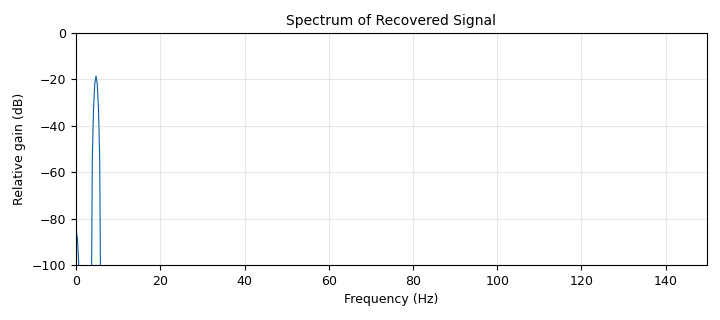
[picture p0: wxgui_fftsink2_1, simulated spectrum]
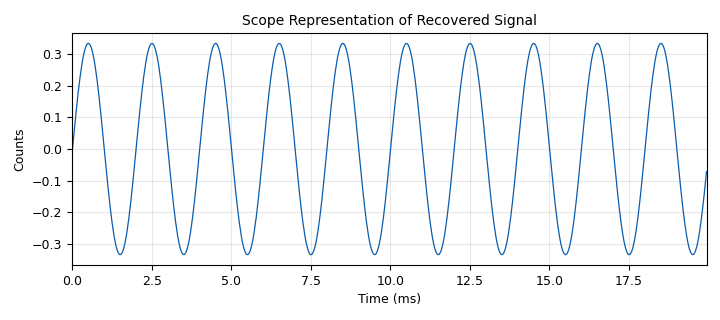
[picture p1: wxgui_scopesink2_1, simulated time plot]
<?xml version='1.0' encoding='utf-8'?>
<?grc format='1' created='3.7.11'?>
<flow_graph>
<block>
<key>options</key>
<param><key>id</key><value>fm_mod_dmod_sim</value></param>
<param><key>author</key><value>AKADEMIKA Lab Solution</value></param>
<param><key>category</key><value>Custom</value></param>
<param><key>description</key><value>NBFM Modulation Technique</value></param>
<param><key>generate_options</key><value>wx_gui</value></param>
<param><key>title</key><value>FM_Modulation and Demodulation</value></param>
</block>
<block>
<key>variable_slider</key>
<param><key>id</key><value>amplitude</value></param>
<param><key>converver</key><value>float_converter</value></param>
<param><key>value</key><value>1</value></param>
<param><key>label</key><value></value></param>
<param><key>max</key><value>10</value></param>
<param><key>min</key><value>0</value></param>
<param><key>num_steps</key><value>100</value></param>
<param><key>style</key><value>wx.SL_HORIZONTAL</value></param>
</block>
<block>
<key>variable</key>
<param><key>id</key><value>interp_factor</value></param>
<param><key>value</key><value>4</value></param>
</block>
<block>
<key>variable</key>
<param><key>id</key><value>samp_rate</value></param>
<param><key>value</key><value>32000</value></param>
</block>
<block>
<key>variable</key>
<param><key>id</key><value>samp_rate1</value></param>
<param><key>value</key><value>300</value></param>
</block>
<block>
<key>analog_nbfm_rx</key>
<param><key>id</key><value>analog_nbfm_rx_0</value></param>
<param><key>audio_rate</key><value>samp_rate</value></param>
<param><key>max_dev</key><value>5e3</value></param>
<param><key>quad_rate</key><value>samp_rate</value></param>
<param><key>tau</key><value>75e-6</value></param>
</block>
<block>
<key>analog_nbfm_tx</key>
<param><key>id</key><value>analog_nbfm_tx_0</value></param>
<param><key>audio_rate</key><value>samp_rate</value></param>
<param><key>max_dev</key><value>5e3</value></param>
<param><key>fh</key><value>-1.0</value></param>
<param><key>quad_rate</key><value>samp_rate*interp_factor</value></param>
<param><key>tau</key><value>75e-6</value></param>
</block>
<block>
<key>analog_sig_source_x</key>
<param><key>id</key><value>analog_sig_source_x_0</value></param>
<param><key>amp</key><value>amplitude</value></param>
<param><key>freq</key><value>2000</value></param>
<param><key>offset</key><value>0</value></param>
<param><key>type</key><value>float</value></param>
<param><key>samp_rate</key><value>samp_rate</value></param>
<param><key>waveform</key><value>analog.GR_SIN_WAVE</value></param>
</block>
<block>
<key>analog_sig_source_x</key>
<param><key>id</key><value>analog_sig_source_x_1</value></param>
<param><key>amp</key><value>1</value></param>
<param><key>freq</key><value>100000</value></param>
<param><key>offset</key><value>0</value></param>
<param><key>type</key><value>complex</value></param>
<param><key>samp_rate</key><value>samp_rate1</value></param>
<param><key>waveform</key><value>analog.GR_COS_WAVE</value></param>
</block>
<block>
<key>blocks_multiply_xx</key>
<param><key>id</key><value>blocks_multiply_xx_0</value></param>
<param><key>type</key><value>complex</value></param>
</block>
<block>
<key>blocks_throttle</key>
<param><key>id</key><value>blocks_throttle_0</value></param>
<param><key>samples_per_second</key><value>samp_rate</value></param>
<param><key>type</key><value>float</value></param>
</block>
<block>
<key>freq_xlating_fir_filter_xxx</key>
<param><key>id</key><value>freq_xlating_fir_filter_xxx_0</value></param>
<param><key>center_freq</key><value>100000</value></param>
<param><key>decim</key><value>1</value></param>
<param><key>samp_rate</key><value>samp_rate1</value></param>
<param><key>taps</key><value>1</value></param>
<param><key>type</key><value>ccc</value></param>
</block>
<block>
<key>wxgui_fftsink2</key>
<param><key>id</key><value>wxgui_fftsink2_1</value></param>
<param><key>avg_alpha</key><value>0</value></param>
<param><key>average</key><value>False</value></param>
<param><key>baseband_freq</key><value>0</value></param>
<param><key>fft_size</key><value>1024</value></param>
<param><key>freqvar</key><value>None</value></param>
<param><key>peak_hold</key><value>False</value></param>
<param><key>ref_level</key><value>0</value></param>
<param><key>ref_scale</key><value>2.0</value></param>
<param><key>fft_rate</key><value>15</value></param>
<param><key>samp_rate</key><value>samp_rate1</value></param>
<param><key>title</key><value>Spectrum of Recovered Signal</value></param>
<param><key>type</key><value>float</value></param>
<param><key>win</key><value>None</value></param>
<param><key>y_divs</key><value>10</value></param>
<param><key>y_per_div</key><value>10</value></param>
</block>
<block>
<key>wxgui_scopesink2</key>
<param><key>id</key><value>wxgui_scopesink2_1</value></param>
<param><key>ac_couple</key><value>False</value></param>
<param><key>num_inputs</key><value>1</value></param>
<param><key>samp_rate</key><value>samp_rate</value></param>
<param><key>t_scale</key><value>0</value></param>
<param><key>title</key><value>Scope Representation of Recovered Signal</value></param>
<param><key>trig_mode</key><value>wxgui.TRIG_MODE_AUTO</value></param>
<param><key>type</key><value>float</value></param>
<param><key>v_offset</key><value>0</value></param>
<param><key>v_scale</key><value>0</value></param>
<param><key>xy_mode</key><value>False</value></param>
<param><key>y_axis_label</key><value>Counts</value></param>
</block>
<block>
<key>wxgui_scopesink2</key>
<param><key>id</key><value>wxgui_scopesink2_1_0</value></param>
<param><key>ac_couple</key><value>False</value></param>
<param><key>_enabled</key><value>False</value></param>
<param><key>num_inputs</key><value>1</value></param>
<param><key>samp_rate</key><value>samp_rate</value></param>
<param><key>t_scale</key><value>0</value></param>
<param><key>title</key><value>Message Signal</value></param>
<param><key>trig_mode</key><value>wxgui.TRIG_MODE_AUTO</value></param>
<param><key>type</key><value>float</value></param>
<param><key>v_offset</key><value>0</value></param>
<param><key>v_scale</key><value>0</value></param>
<param><key>xy_mode</key><value>False</value></param>
<param><key>y_axis_label</key><value>Counts</value></param>
</block>
<connection><source_block_id>analog_nbfm_rx_0</source_block_id><sink_block_id>wxgui_fftsink2_1</sink_block_id><source_key>0</source_key><sink_key>0</sink_key></connection>
<connection><source_block_id>analog_nbfm_rx_0</source_block_id><sink_block_id>wxgui_scopesink2_1</sink_block_id><source_key>0</source_key><sink_key>0</sink_key></connection>
<connection><source_block_id>analog_nbfm_tx_0</source_block_id><sink_block_id>blocks_multiply_xx_0</sink_block_id><source_key>0</source_key><sink_key>0</sink_key></connection>
<connection><source_block_id>analog_sig_source_x_0</source_block_id><sink_block_id>blocks_throttle_0</sink_block_id><source_key>0</source_key><sink_key>0</sink_key></connection>
<connection><source_block_id>analog_sig_source_x_0</source_block_id><sink_block_id>wxgui_scopesink2_1_0</sink_block_id><source_key>0</source_key><sink_key>0</sink_key></connection>
<connection><source_block_id>analog_sig_source_x_1</source_block_id><sink_block_id>blocks_multiply_xx_0</sink_block_id><source_key>0</source_key><sink_key>1</sink_key></connection>
<connection><source_block_id>blocks_multiply_xx_0</source_block_id><sink_block_id>freq_xlating_fir_filter_xxx_0</sink_block_id><source_key>0</source_key><sink_key>0</sink_key></connection>
<connection><source_block_id>blocks_throttle_0</source_block_id><sink_block_id>analog_nbfm_tx_0</sink_block_id><source_key>0</source_key><sink_key>0</sink_key></connection>
<connection><source_block_id>freq_xlating_fir_filter_xxx_0</source_block_id><sink_block_id>analog_nbfm_rx_0</sink_block_id><source_key>0</source_key><sink_key>0</sink_key></connection>
</flow_graph>
